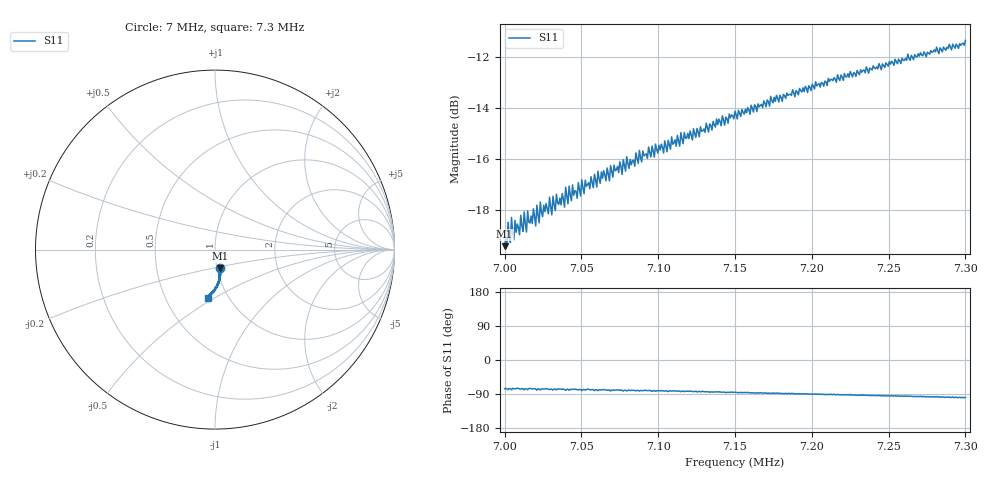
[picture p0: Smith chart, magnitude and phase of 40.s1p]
# Hz S RI R 50
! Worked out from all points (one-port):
!   401 points, 7 MHz to 7.3 MHz, reference 50 ohm
!   lowest |S11| = -19.4 dB at 7 MHz (marker M1), VSWR 1.24, Z = 51.5 - j10.8 ohm
!   |S11| at or under -10 dB: start of sweep to end of sweep
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7000000  0.026 -0.1038
7003750  0.0263 -0.1056
7004500  0.0243 -0.1193
7006000  0.0272 -0.1066
7010500  0.0279 -0.1197
7012000  0.028 -0.1109
7012750  0.0238 -0.1226
7014250  0.0267 -0.1108
7015000  0.0258 -0.1228
7020250  0.0272 -0.114
7021000  0.0232 -0.1266
7022500  0.0271 -0.1157
7023250  0.0247 -0.1282
7030750  0.0271 -0.1202
7031500  0.0245 -0.1317
7033000  0.029 -0.1222
7037500  0.0301 -0.1322
7041250  0.0284 -0.1264
7042000  0.0245 -0.1381
7049500  0.0282 -0.1311
7075000  0.0284 -0.154
7087000  0.0265 -0.1532
7112500  0.024 -0.1747
7150000  0.0168 -0.1959
7187500  0.00651 -0.2166
7225000  -0.00402 -0.2353
7262500  -0.0207 -0.2537
7300000  -0.0399 -0.2677
